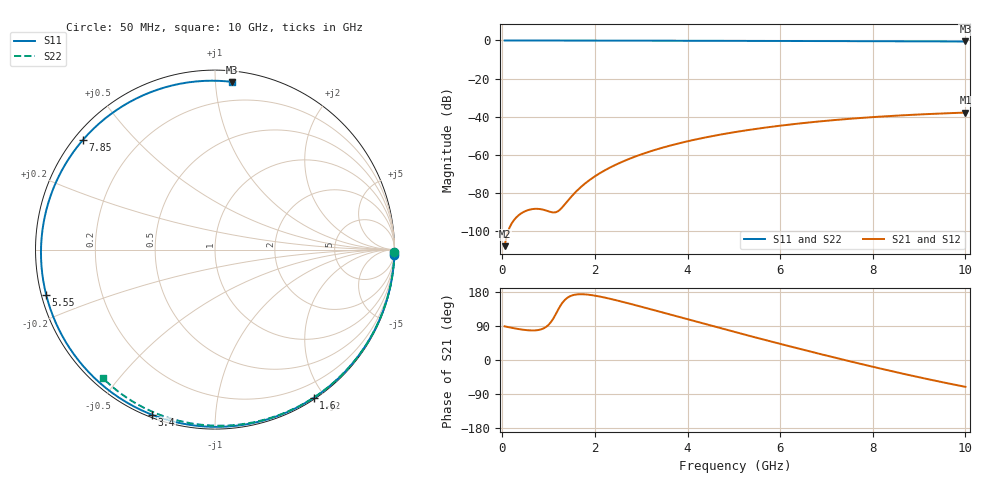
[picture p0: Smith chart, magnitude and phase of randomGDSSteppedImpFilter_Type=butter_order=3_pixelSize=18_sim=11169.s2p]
! freq	dB(S11)	phase(S11)	dB(S12)	phase(S12)
!  dB(S21)	phase(S21)	dB(S22)	phase(S22)
!S-par simulation data
#  GHz  S  DB  R 50
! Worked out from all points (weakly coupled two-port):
!   200 points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, 50 MHz to 10 GHz, reference 50 ohm
!   highest |S21| = -37.81 dB at 10 GHz (marker M1); lowest = -107.8 dB at 50 MHz (marker M2)
!   lowest |S11| = -0.5 dB at 10 GHz (marker M3), VSWR 31.91, Z = 3.48 + j55.2 ohm
!   |S11| at or under -10 dB: nowhere
!   |S22| runs from -0.4 to 0.0 dB; largest |S21 - S12| = 0
!   S11 on the Smith chart (normalised r, x): 50 MHz: 0, -62; 1.6 GHz: 0.02, -1.86; 3.4 GHz: 0.01, -0.69; 5.55 GHz: 0.01, -0.13; 7.85 GHz: 0.03, +0.36; 10 GHz: 0.07, +1.10
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0.05  -0.00 -1.8  -107.83 88.9  -107.83 88.9  -0.00 -0.8
0.4  -0.02 -14.5  -90.76 80.7  -90.76 80.7  -0.01 -6.0
0.75  -0.04 -27.1  -88.25 78.6  -88.25 78.6  -0.01 -11.3
1.15  -0.05 -41.1  -90.07 119.9  -90.07 119.9  -0.02 -17.3
1.55  -0.07 -54.7  -80.30 171.9  -80.30 171.9  -0.03 -23.2
1.6  -0.07 -56.4  -79.05 173.0  -79.05 173.0  -0.03 -23.9
1.75  -0.08 -61.3  -75.72 173.5  -75.72 173.5  -0.03 -26.1
2.05  -0.09 -71.0  -70.44 168.8  -70.44 168.8  -0.04 -30.5
2.45  -0.10 -83.4  -65.15 158.0  -65.15 158.0  -0.05 -36.3
2.9  -0.12 -96.8  -60.59 143.9  -60.59 143.9  -0.06 -42.7
3.4  -0.13 -110.9  -56.63 127.4  -56.63 127.4  -0.07 -49.8
4.25  -0.17 -133.3  -51.52 99.2  -51.52 99.2  -0.09 -61.4
5.05  -0.20 -153.1  -47.93 72.9  -47.93 72.9  -0.11 -72.1
5.55  -0.23 -165.1  -46.11 56.9  -46.11 56.9  -0.13 -78.5
6.1  -0.26 -178.0  -44.39 39.4  -44.39 39.4  -0.15 -85.5
6.7  -0.30 167.8  -42.80 20.8  -42.80 20.8  -0.18 -92.9
7.25  -0.34 154.8  -41.56 4.2  -41.56 4.2  -0.21 -99.5
7.85  -0.39 140.2  -40.43 -13.5  -40.43 -13.5  -0.25 -106.6
8.35  -0.42 127.8  -39.64 -27.8  -39.64 -27.8  -0.29 -112.4
9.2  -0.49 105.8  -38.58 -50.8  -38.58 -50.8  -0.36 -122.1
9.6  -0.52 95.1  -38.17 -61.0  -38.17 -61.0  -0.40 -126.7
10  -0.54 84.2  -37.81 -70.8  -37.81 -70.8  -0.44 -131.2
